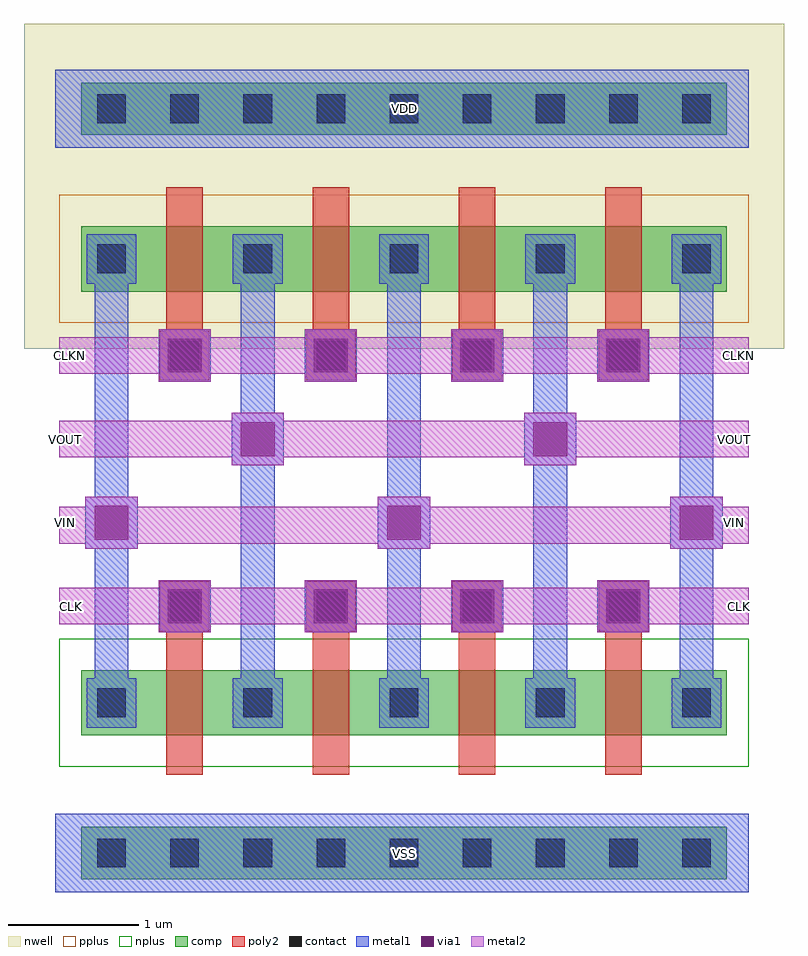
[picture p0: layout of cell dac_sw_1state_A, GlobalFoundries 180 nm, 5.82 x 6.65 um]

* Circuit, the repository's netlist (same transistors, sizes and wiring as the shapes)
** sch_path: /foss/designs/Chipathon-2026-OnChipSAR/designs/sar_adc/dac/dac_sw_1state_A/xschem/dac_sw_1state_A.sch
.subckt dac_sw_1state_A VDD VSS CLK VIN VOUT CLKN
*.PININFO VIN:B VOUT:B CLK:B CLKN:B VSS:B VDD:B
MSN VOUT CLK VIN VSS nfet_03v3 L=0.28u W=0.5u nf=1 m=4
MSP VIN CLKN VOUT VDD pfet_03v3 L=0.28u W=0.5u nf=1 m=4
.ends

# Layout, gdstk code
import gdstk
lib = gdstk.Library(unit=1e-6, precision=5e-09)
def R(c, l, rs):  # rectangles x0, y0, x1, y1
    for r in rs: c.add(gdstk.rectangle(r[:2], r[2:], *l))
def A(c, l, x, y, w, h, nx, ny, dx, dy):  # array of equal rectangles
    R(c, l, [(x+i*dx, y+j*dy, x+i*dx+w, y+j*dy+h) for i in range(nx) for j in range(ny)])
nwell = (21, 0)
comp = (22, 0)
poly2 = (30, 0)
pplus = (31, 0)
nplus = (32, 0)
contact = (33, 0)
metal1 = (34, 0)
via1 = (35, 0)
metal2 = (36, 0)

via_dev = lib.new_cell('via_dev')

pfet = lib.new_cell('pfet')
R(pfet, nwell, [(-0.9,-0.44,1.56,0.94)])
R(pfet, comp, [(-0.46,0,0,0.5), (0,0,0.66,0.5), (0.66,0,1.12,0.5)])
R(pfet, poly2, [(0.14,-0.68,0.52,-0.3), (0.19,-0.3,0.47,0.8)])
R(pfet, pplus, [(-0.63,-0.24,1.29,0.74)])
R(pfet, contact, [(0.22,-0.6,0.44,-0.38), (-0.34,0.14,-0.12,0.36), (0.78,0.14,1,0.36)])
R(pfet, metal1, [(0.14,-0.68,0.52,-0.3), (-0.42,0.06,-0.04,0.44), (0.7,0.06,1.08,0.44)])

via_dev_1 = lib.new_cell('via_dev$1')
R(via_dev_1, metal1, [(0,0,0.4,0.4)])
R(via_dev_1, via1, [(0.07,0.07,0.33,0.33)])
R(via_dev_1, metal2, [(0,0,0.4,0.4)])

dac_sw_1state_a = lib.new_cell('dac_sw_1state_A')
R(dac_sw_1state_a, nwell, [(0.8,6.49,6.62,7.6)])
A(dac_sw_1state_a, comp, 1.24, 2.15, 1.58, 0.5, 4, 1, 1.12, 0)
R(dac_sw_1state_a, comp, [(1.24,2.15,1.7,2.65), (2.36,2.15,2.82,2.65), (2.36,2.15,2.82,2.65), (3.48,2.15,3.94,2.65), (3.48,2.15,3.94,2.65), (4.6,2.15,5.06,2.65), (4.6,2.15,5.06,2.65), (5.72,2.15,6.18,2.65), (5.72,2.15,6.18,2.65)])
A(dac_sw_1state_a, poly2, 1.89, 1.85, 0.28, 1.1, 4, 1, 1.12, 0)
A(dac_sw_1state_a, poly2, 1.84, 2.95, 0.38, 0.38, 4, 1, 1.12, 0)
R(dac_sw_1state_a, pplus, [(1.04,0.95,6.35,1.55)])
A(dac_sw_1state_a, nplus, 1.07, 1.91, 1.92, 0.98, 4, 1, 1.12, 0)
R(dac_sw_1state_a, nplus, [(1.04,6.65,6.35,7.25)])
A(dac_sw_1state_a, contact, 1.92, 3.03, 0.22, 0.22, 4, 1, 1.12, 0)
A(dac_sw_1state_a, contact, 3.6, 6.84, 0.22, 0.22, 4, 1, 0.56, 0)
R(dac_sw_1state_a, contact, [(1.36,1.14,1.58,1.36), (1.36,1.14,1.58,1.36), (1.92,1.14,2.14,1.36), (1.92,1.14,2.14,1.36), (2.48,1.14,2.7,1.36), (2.48,1.14,2.7,1.36), (3.04,1.14,3.26,1.36), (3.04,1.14,3.26,1.36), (3.6,1.14,3.82,1.36), (3.6,1.14,3.82,1.36), (4.16,1.14,4.38,1.36), (4.16,1.14,4.38,1.36), (4.72,1.14,4.94,1.36), (4.72,1.14,4.94,1.36), (5.28,1.14,5.5,1.36), (5.28,1.14,5.5,1.36), (5.84,1.14,6.06,1.36), (5.84,1.14,6.06,1.36), (1.36,2.29,1.58,2.51), (2.48,2.29,2.7,2.51), (2.48,2.29,2.7,2.51), (3.6,2.29,3.82,2.51), (3.6,2.29,3.82,2.51), (4.72,2.29,4.94,2.51), (4.72,2.29,4.94,2.51), (5.84,2.29,6.06,2.51), (5.84,2.29,6.06,2.51), (1.36,6.84,1.58,7.06), (1.36,6.84,1.58,7.06), (1.92,6.84,2.14,7.06), (1.92,6.84,2.14,7.06), (2.48,6.84,2.7,7.06), (2.48,6.84,2.7,7.06), (3.04,6.84,3.26,7.06), (3.04,6.84,3.26,7.06), (3.6,6.84,3.82,7.06), (5.28,6.84,5.5,7.06), (5.84,6.84,6.06,7.06), (5.84,6.84,6.06,7.06)])
A(dac_sw_1state_a, metal1, 1.84, 2.95, 0.38, 0.38, 4, 1, 1.12, 0)
R(dac_sw_1state_a, metal1, [(1.27,1.05,1.67,1.45), (1.27,1.05,1.67,1.45), (1.83,1.05,2.23,1.45), (1.83,1.05,2.23,1.45), (2.39,1.05,2.79,1.45), (2.39,1.05,2.79,1.45), (2.95,1.05,3.35,1.45), (2.95,1.05,3.35,1.45), (3.51,1.05,3.91,1.45), (3.51,1.05,3.91,1.45), (4.07,1.05,4.47,1.45), (4.07,1.05,4.47,1.45), (4.63,1.05,5.03,1.45), (4.63,1.05,5.03,1.45), (5.19,1.05,5.59,1.45), (5.19,1.05,5.59,1.45), (5.75,1.05,6.15,1.45), (5.75,1.05,6.15,1.45), (1.28,2.21,1.66,2.59), (2.4,2.21,2.78,2.59), (2.4,2.21,2.78,2.59), (3.52,2.21,3.9,2.59), (3.52,2.21,3.9,2.59), (4.64,2.21,5.02,2.59), (4.64,2.21,5.02,2.59), (5.76,2.21,6.14,2.59), (5.76,2.21,6.14,2.59), (1.27,6.75,1.67,7.15), (1.27,6.75,1.67,7.15), (1.83,6.75,2.23,7.15), (1.83,6.75,2.23,7.15), (2.39,6.75,2.79,7.15), (2.39,6.75,2.79,7.15), (2.95,6.75,3.35,7.15), (2.95,6.75,3.35,7.15), (3.51,6.75,3.91,7.15), (3.51,6.75,3.91,7.15), (4.07,6.75,4.47,7.15), (4.07,6.75,4.47,7.15), (4.63,6.75,5.03,7.15), (4.63,6.75,5.03,7.15), (5.19,6.75,5.59,7.15), (5.19,6.75,5.59,7.15), (5.75,6.75,6.15,7.15), (5.75,6.75,6.15,7.15)])
dac_sw_1state_a.add(gdstk.FlexPath([(1.07,3.76),(6.35,3.76)], 0.28, ends="flush", simple_path=True, layer=36, datatype=0))  # metal2
dac_sw_1state_a.add(gdstk.FlexPath([(1.07,5.06),(6.35,5.06)], 0.28, ends="flush", simple_path=True, layer=36, datatype=0))  # metal2
dac_sw_1state_a.add(gdstk.FlexPath([(1.07,4.42),(6.35,4.42)], 0.28, ends="flush", simple_path=True, layer=36, datatype=0))  # metal2
dac_sw_1state_a.add(gdstk.FlexPath([(1.07,3.14),(6.35,3.14)], 0.28, ends="flush", simple_path=True, layer=36, datatype=0))  # metal2
dac_sw_1state_a.add(gdstk.FlexPath([(1.04,1.25),(6.35,1.25)], 0.6, ends="flush", simple_path=True, layer=34, datatype=0))  # metal1
dac_sw_1state_a.add(gdstk.FlexPath([(1.04,6.95),(6.35,6.95)], 0.6, ends="flush", simple_path=True, layer=34, datatype=0))  # metal1
dac_sw_1state_a.add(gdstk.FlexPath([(1.47,5.99),(1.47,2.21)], 0.26, ends="flush", simple_path=True, layer=34, datatype=0))  # metal1
dac_sw_1state_a.add(gdstk.FlexPath([(2.59,5.99),(2.59,2.21)], 0.26, ends="flush", simple_path=True, layer=34, datatype=0))  # metal1
dac_sw_1state_a.add(gdstk.FlexPath([(3.71,5.99),(3.71,2.21)], 0.26, ends="flush", simple_path=True, layer=34, datatype=0))  # metal1
dac_sw_1state_a.add(gdstk.FlexPath([(4.83,5.99),(4.83,2.21)], 0.26, ends="flush", simple_path=True, layer=34, datatype=0))  # metal1
dac_sw_1state_a.add(gdstk.FlexPath([(5.95,5.99),(5.95,2.21)], 0.26, ends="flush", simple_path=True, layer=34, datatype=0))  # metal1
dac_sw_1state_a.add(gdstk.FlexPath([(1.24,6.95),(6.18,6.95)], 0.4, ends="flush", simple_path=True, layer=22, datatype=0))  # comp
dac_sw_1state_a.add(gdstk.FlexPath([(1.24,1.25),(6.18,1.25)], 0.4, ends="flush", simple_path=True, layer=22, datatype=0))  # comp
dac_sw_1state_a.add(gdstk.Reference(via_dev, (0.88,1.52)))
dac_sw_1state_a.add(gdstk.Reference(via_dev, (0.8,1.77)))
dac_sw_1state_a.add(gdstk.Reference(pfet, (5.06,5.55)))
dac_sw_1state_a.add(gdstk.Reference(pfet, (3.94,5.55)))
dac_sw_1state_a.add(gdstk.Reference(pfet, (2.82,5.55)))
dac_sw_1state_a.add(gdstk.Reference(pfet, (1.7,5.55)))
dac_sw_1state_a.add(gdstk.Reference(via_dev_1, (2.95,4.86)))
dac_sw_1state_a.add(gdstk.Reference(via_dev_1, (4.07,4.86)))
dac_sw_1state_a.add(gdstk.Reference(via_dev_1, (5.19,4.86)))
dac_sw_1state_a.add(gdstk.Reference(via_dev_1, (1.83,2.94)))
dac_sw_1state_a.add(gdstk.Reference(via_dev_1, (2.95,2.94)))
dac_sw_1state_a.add(gdstk.Reference(via_dev_1, (4.07,2.94)))
dac_sw_1state_a.add(gdstk.Reference(via_dev_1, (5.19,2.94)))
dac_sw_1state_a.add(gdstk.Reference(via_dev_1, (1.83,4.86)))
dac_sw_1state_a.add(gdstk.Reference(via_dev_1, (1.27,3.58)))
dac_sw_1state_a.add(gdstk.Reference(via_dev_1, (2.39,4.22)))
dac_sw_1state_a.add(gdstk.Reference(via_dev_1, (3.51,3.58)))
dac_sw_1state_a.add(gdstk.Reference(via_dev_1, (4.63,4.22)))
dac_sw_1state_a.add(gdstk.Reference(via_dev_1, (5.75,3.58)))
dac_sw_1state_a.add(gdstk.Label('VIN', (6.24,3.78), layer=36, texttype=10))
dac_sw_1state_a.add(gdstk.Label('CLK', (6.28,3.14), layer=36, texttype=10))
dac_sw_1state_a.add(gdstk.Label('VOUT', (6.24,4.42), layer=36, texttype=10))
dac_sw_1state_a.add(gdstk.Label('CLKN', (6.27,5.06), layer=36, texttype=10))
dac_sw_1state_a.add(gdstk.Label('VIN', (1.12,3.78), layer=36, texttype=10))
dac_sw_1state_a.add(gdstk.Label('CLK', (1.16,3.14), layer=36, texttype=10))
dac_sw_1state_a.add(gdstk.Label('VOUT', (1.12,4.42), layer=36, texttype=10))
dac_sw_1state_a.add(gdstk.Label('CLKN', (1.15,5.06), layer=36, texttype=10))
dac_sw_1state_a.add(gdstk.Label('VDD', (3.71,6.95), layer=34, texttype=10))
dac_sw_1state_a.add(gdstk.Label('VSS', (3.71,1.25), layer=34, texttype=10))

lib.write_gds('dac_sw_1state_A.gds')
